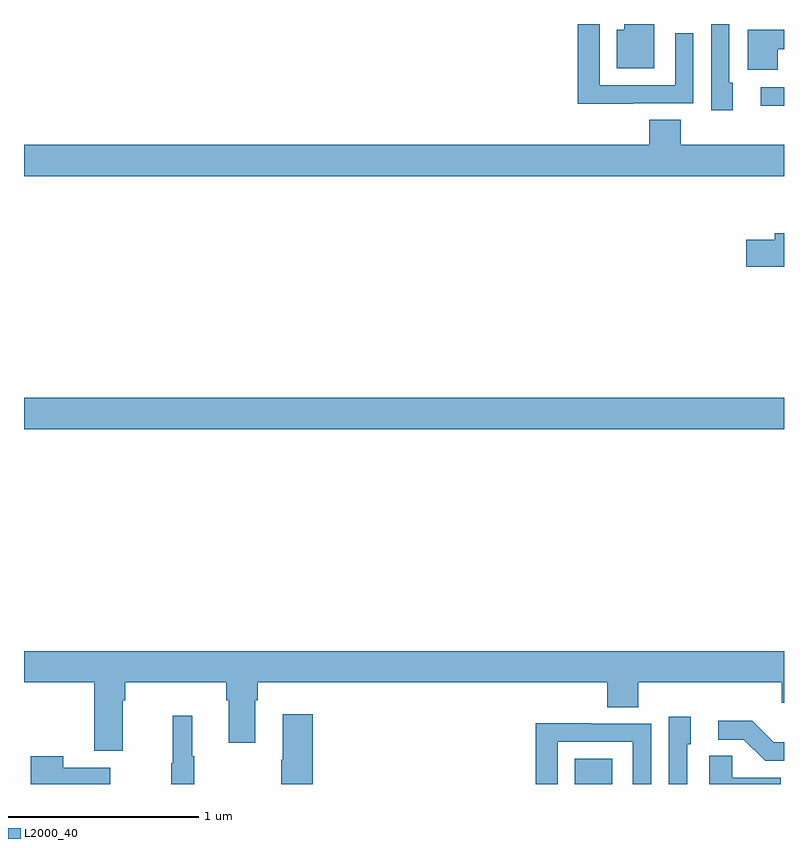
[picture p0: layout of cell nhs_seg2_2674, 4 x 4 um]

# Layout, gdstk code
import gdstk
lib = gdstk.Library(unit=1e-6, precision=1e-09)
def R(c, l, rs):  # rectangles x0, y0, x1, y1
    for r in rs: c.add(gdstk.rectangle(r[:2], r[2:], *l))
def P(c, l, *ps):  # polygons
    for p in ps: c.add(gdstk.Polygon(p, *l))
L2000_40 = (2000, 40)

nhs_seg2_2674 = lib.new_cell('nhs_seg2_2674')
R(nhs_seg2_2674, L2000_40, [(253.898,613.8,254.095,613.933), (251,615.668,255,615.832), (254.877,617.369,255,617.466)])
P(nhs_seg2_2674, L2000_40, [(254.317,617.8),(254.159,617.8),(254.159,617.77),(254.12,617.77),(254.12,617.567),(254.317,617.567)],
  [(254.731,617.49),(254.712,617.49),(254.712,617.8),(254.616,617.8),(254.616,617.346),(254.731,617.346)],
  [(254.207,617.382),(254.523,617.382),(254.523,617.752),(254.427,617.752),(254.427,617.478),(254.031,617.478),(254.031,617.8),(253.915,617.8),(253.915,617.381),(254.207,617.381)],
  [(254.967,617.666),(255,617.666),(255,617.77),(254.81,617.77),(254.81,617.558),(254.967,617.558)],
  [(255,617.164),(254.456,617.164),(254.456,617.297),(254.291,617.297),(254.291,617.164),(251,617.164),(251,617),(255,617)],
  [(255,616.699),(254.951,616.699),(254.951,616.665),(254.802,616.665),(254.802,616.523),(255,616.523)],
  [(251.521,614.24),(251.534,614.24),(251.534,614.336),(252.065,614.336),(252.065,614.24),(252.077,614.24),(252.077,614.016),(252.217,614.016),(252.217,614.24),(252.23,614.24),(252.23,614.336),(254.069,614.336),(254.069,614.203),(254.234,614.203),(254.234,614.336),(254.987,614.336),(254.987,614.227),(255,614.227),(255,614.5),(251,614.5),(251,614.336),(251.369,614.336),(251.369,613.974),(251.521,613.974)],
  [(252.521,614.167),(252.362,614.167),(252.362,613.928),(252.355,613.928),(252.355,613.8),(252.521,613.8)],
  [(251.896,613.945),(251.885,613.945),(251.885,614.158),(251.782,614.158),(251.782,613.908),(251.775,613.908),(251.775,613.8),(251.896,613.8)],
  [(254.49,614.01),(254.509,614.01),(254.509,614.155),(254.394,614.155),(254.394,613.8),(254.49,613.8)],
  [(255,614.019),(254.946,614.019),(254.833,614.132),(254.655,614.132),(254.655,614.034),(254.789,614.034),(254.9,613.923),(255,613.923)],
  [(253.809,614.022),(254.205,614.022),(254.205,613.8),(254.301,613.8),(254.301,614.118),(253.985,614.118),(253.985,614.12),(253.693,614.12),(253.693,613.8),(253.809,613.8)],
  [(254.984,613.834),(254.727,613.834),(254.727,613.949),(254.606,613.949),(254.606,613.8),(254.984,613.8)],
  [(251.455,613.885),(251.207,613.885),(251.207,613.945),(251.036,613.945),(251.036,613.8),(251.455,613.8)])

lib.write_gds('nhs_seg2_2674.gds')
